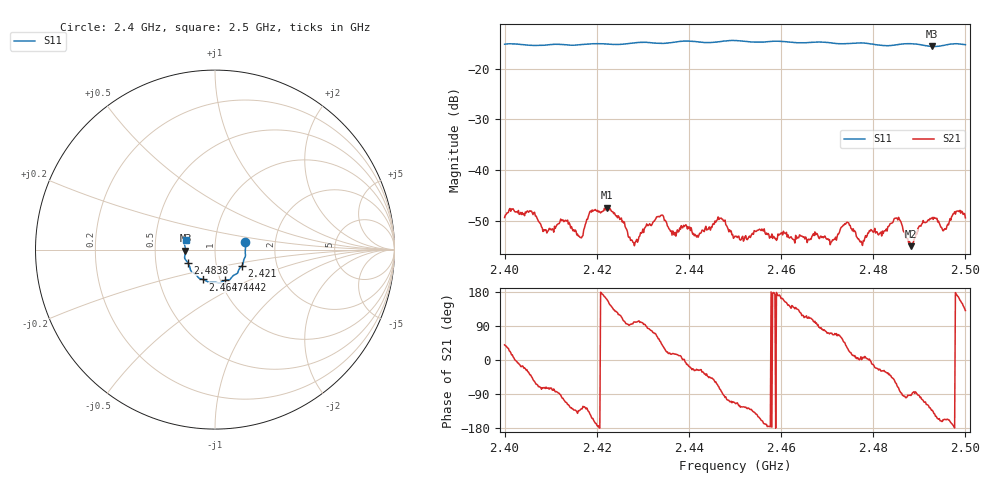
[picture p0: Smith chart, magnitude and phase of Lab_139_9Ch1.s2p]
# Hz S RI R 50
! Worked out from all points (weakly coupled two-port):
!   601 points, 2.4 GHz to 2.5 GHz, reference 50 ohm
!   highest |S21| = -47.42 dB at 2.4222 GHz (marker M1); lowest = -55.0 dB at 2.4882 GHz (marker M2)
!   lowest |S11| = -15.7 dB at 2.4928 GHz (marker M3), VSWR 1.40, Z = 35.8 - j0.402 ohm
!   |S11| at or under -10 dB: start of sweep to end of sweep
!   S12 and S22 are empty: the file has one direction only
!   S11 on the Smith chart (normalised r, x): 2.4 GHz: 1.40, +0.12; 2.421 GHz: 1.33, -0.24; 2.4442 GHz: 1.05, -0.37; 2.4647 GHz: 0.83, -0.28; 2.4838 GHz: 0.73, -0.11; 2.5 GHz: 0.71, +0.08
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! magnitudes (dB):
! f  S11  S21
! 2.4 GHz  -15.2  -49.3
! 2.4167 GHz  -15.3  -53.3
! 2.4187 GHz  -15.1  -48.0
! 2.421 GHz  -15.1  -48.2
! 2.4222 GHz  -15.2  -47.4
! 2.428 GHz  -15.0  -54.3
! 2.4333 GHz  -15.0  -49.1
! 2.4368 GHz  -14.8  -52.8
! 2.4442 GHz  -14.9  -51.7
! 2.4468 GHz  -14.7  -49.5
! 2.45 GHz  -14.5  -53.0
! 2.4647 GHz  -14.9  -53.1
! 2.4667 GHz  -14.8  -53.1
! 2.4743 GHz  -15.1  -50.3
! 2.4775 GHz  -15.0  -54.3
! 2.4833 GHz  -15.5  -51.1
! 2.4838 GHz  -15.5  -50.5
! 2.4855 GHz  -15.3  -49.3
! 2.4882 GHz  -15.1  -55.0
! 2.4928 GHz  -15.7  -49.3
! 2.4953 GHz  -15.4  -51.8
! 2.5 GHz  -15.3  -49.4
